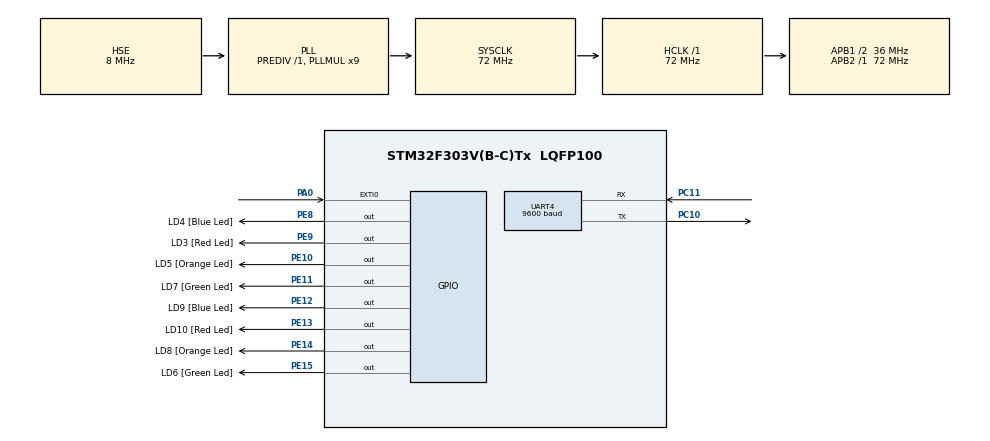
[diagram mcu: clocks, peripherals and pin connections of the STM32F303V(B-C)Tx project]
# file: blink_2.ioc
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Mcu.Family=STM32F3
Mcu.Name=STM32F303V(B-C)Tx
Mcu.Package=LQFP100
NVIC.EXTI0_IRQn=true\:0\:0\:false\:false\:true\:true
NVIC.PriorityGroup=NVIC_PRIORITYGROUP_0
NVIC.UART4_IRQn=true\:0\:0\:false\:false\:true\:true
PA0.Signal=GPXTI0
PA11.GPIO_Label=DM
PA11.Signal=USB_DM
PA12.GPIO_Label=DP
PA12.Signal=USB_DP
PA13.GPIO_Label=SWDIO
PA13.Signal=SYS_JTMS-SWDIO
PA14.GPIO_Label=SWCLK
PA14.Signal=SYS_JTCK-SWCLK
PA5.GPIO_Label=SPI1_SCK [L3GD20_SCL/SPC]
PA5.GPIO_Mode=GPIO_MODE_AF_PP
PA5.GPIO_PuPd=GPIO_NOPULL
PA5.GPIO_Speed=GPIO_SPEED_FREQ_LOW
PA5.Signal=SPI1_SCK
PA6.GPIO_Label=SPI1_MISO [L3GD20_SA0/SDO]
PA6.GPIO_Mode=GPIO_MODE_AF_PP
PA6.GPIO_PuPd=GPIO_NOPULL
PA6.GPIO_Speed=GPIO_SPEED_FREQ_LOW
PA6.Signal=SPI1_MISO
PA7.GPIO_Label=SPI1_MISO [L3GD20_SDA/SDI/SDO]
PA7.GPIO_Mode=GPIO_MODE_AF_PP
PA7.GPIO_PuPd=GPIO_NOPULL
PA7.GPIO_Speed=GPIO_SPEED_FREQ_LOW
PA7.Signal=SPI1_MOSI
PB3.GPIO_Label=SWO
PB3.Signal=SYS_JTDO-TRACESWO
PB6.GPIO_FM6=__NULL
PB6.GPIO_Label=I2C1_SCL [LSM303DLHC_SCL]
PB6.GPIO_Mode=GPIO_MODE_AF_OD
PB6.GPIO_PuPd=GPIO_NOPULL
PB6.GPIO_Speed=GPIO_SPEED_FREQ_LOW
PB6.Signal=I2C1_SCL
PB7.GPIO_FM7=__NULL
PB7.GPIO_Label=I2C1_SDA [LSM303DLHC_SDA]
PB7.GPIO_Mode=GPIO_MODE_AF_OD
PB7.GPIO_PuPd=GPIO_NOPULL
PB7.GPIO_Speed=GPIO_SPEED_FREQ_LOW
PB7.Signal=I2C1_SDA
PC10.Mode=Asynchronous
PC10.Signal=UART4_TX
PC11.Mode=Asynchronous
PC11.Signal=UART4_RX
PC14-OSC32_IN.GPIO_Label=OSC32_IN
PC14-OSC32_IN.Signal=RCC_OSC32_IN
PC15-OSC32_OUT.GPIO_Label=OSC32_OUT
PC15-OSC32_OUT.Signal=RCC_OSC32_OUT
PE10.GPIO_Label=LD5 [Orange Led]
PE10.GPIO_ModeDefaultOutputPP=GPIO_MODE_OUTPUT_PP
PE10.GPIO_PuPd=GPIO_NOPULL
PE10.GPIO_Speed=GPIO_SPEED_FREQ_LOW
PE10.Signal=GPIO_Output
PE11.GPIO_Label=LD7 [Green Led]
PE11.GPIO_ModeDefaultOutputPP=GPIO_MODE_OUTPUT_PP
PE11.GPIO_PuPd=GPIO_NOPULL
PE11.GPIO_Speed=GPIO_SPEED_FREQ_LOW
PE11.Signal=GPIO_Output
PE12.GPIO_Label=LD9 [Blue Led]
PE12.GPIO_ModeDefaultOutputPP=GPIO_MODE_OUTPUT_PP
PE12.GPIO_PuPd=GPIO_NOPULL
PE12.GPIO_Speed=GPIO_SPEED_FREQ_LOW
PE12.Signal=GPIO_Output
PE13.GPIO_Label=LD10 [Red Led]
PE13.GPIO_ModeDefaultOutputPP=GPIO_MODE_OUTPUT_PP
PE13.GPIO_PuPd=GPIO_NOPULL
PE13.GPIO_Speed=GPIO_SPEED_FREQ_LOW
PE13.Signal=GPIO_Output
PE14.GPIO_Label=LD8 [Orange Led]
PE14.GPIO_ModeDefaultOutputPP=GPIO_MODE_OUTPUT_PP
PE14.GPIO_PuPd=GPIO_NOPULL
PE14.GPIO_Speed=GPIO_SPEED_FREQ_LOW
PE14.Signal=GPIO_Output
PE15.GPIO_Label=LD6 [Green Led]
PE15.GPIO_ModeDefaultOutputPP=GPIO_MODE_OUTPUT_PP
PE15.GPIO_PuPd=GPIO_NOPULL
PE15.GPIO_Speed=GPIO_SPEED_FREQ_LOW
PE15.Signal=GPIO_Output
PE8.GPIO_Label=LD4 [Blue Led]
PE8.GPIO_ModeDefaultOutputPP=GPIO_MODE_OUTPUT_PP
PE8.GPIO_PuPd=GPIO_NOPULL
PE8.GPIO_Speed=GPIO_SPEED_FREQ_LOW
PE8.Signal=GPIO_Output
PE9.GPIO_Label=LD3 [Red Led]
PE9.GPIO_ModeDefaultOutputPP=GPIO_MODE_OUTPUT_PP
PE9.GPIO_PuPd=GPIO_NOPULL
PE9.GPIO_Speed=GPIO_SPEED_FREQ_LOW
PE9.Signal=GPIO_Output
PF0-OSC_IN.Mode=HSE-External-Oscillator
PF0-OSC_IN.Signal=RCC_OSC_IN
PF1-OSC_OUT.GPIO_Label=OSC_OUT
PF1-OSC_OUT.Mode=HSE-External-Oscillator
PF1-OSC_OUT.Signal=RCC_OSC_OUT
ProjectManager.HeapSize=0x200
ProjectManager.StackSize=0x400
ProjectManager.TargetToolchain=SW4STM32
RCC.AHBFreq_Value=72000000
RCC.APB1CLKDivider=RCC_HCLK_DIV2
RCC.APB1Freq_Value=36000000
RCC.APB1TimFreq_Value=72000000
RCC.APB2Freq_Value=72000000
RCC.APB2TimFreq_Value=72000000
RCC.CortexFreq_Value=72000000
RCC.HCLKFreq_Value=72000000
RCC.HSE_VALUE=8000000
RCC.HSI_VALUE=8000000
RCC.LSE_VALUE=32768
RCC.PLLMUL=RCC_PLL_MUL9
RCC.PLLSourceVirtual=RCC_PLLSOURCE_HSE
RCC.SYSCLKFreq_VALUE=72000000
RCC.SYSCLKSourceVirtual=RCC_SYSCLKSOURCE_PLLCLK
RCC.USBFreq_Value=72000000
RCC.Uart4ClockSelection=RCC_UART4CLKSOURCE_SYSCLK
UART4.BaudRate=9600
board=STM32F3DISCOVERY

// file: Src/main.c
/**
  ******************************************************************************
  * File Name          : main.c
  * Description        : Main program body
  ******************************************************************************
  ** This notice applies to any and all portions of this file
  * that are not between comment pairs USER CODE BEGIN and
  * USER CODE END. Other portions of this file, whether
  * inserted by the user or by software development tools
  * are owned by their respective copyright owners.
  *
  * COPYRIGHT(c) 2017 STMicroelectronics
  *
  * Redistribution and use in source and binary forms, with or without modification,
  * are permitted provided that the following conditions are met:
  *   1. Redistributions of source code must retain the above copyright notice,
  *      this list of conditions and the following disclaimer.
  *   2. Redistributions in binary form must reproduce the above copyright notice,
  *      this list of conditions and the following disclaimer in the documentation
  *      and/or other materials provided with the distribution.
  *   3. Neither the name of STMicroelectronics nor the names of its contributors
  *      may be used to endorse or promote products derived from this software
  *      without specific prior written permission.
  *
  * THIS SOFTWARE IS PROVIDED BY THE COPYRIGHT HOLDERS AND CONTRIBUTORS "AS IS"
  * AND ANY EXPRESS OR IMPLIED WARRANTIES, INCLUDING, BUT NOT LIMITED TO, THE
  * IMPLIED WARRANTIES OF MERCHANTABILITY AND FITNESS FOR A PARTICULAR PURPOSE ARE
  * DISCLAIMED. IN NO EVENT SHALL THE COPYRIGHT HOLDER OR CONTRIBUTORS BE LIABLE
  * FOR ANY DIRECT, INDIRECT, INCIDENTAL, SPECIAL, EXEMPLARY, OR CONSEQUENTIAL
  * DAMAGES (INCLUDING, BUT NOT LIMITED TO, PROCUREMENT OF SUBSTITUTE GOODS OR
  * SERVICES; LOSS OF USE, DATA, OR PROFITS; OR BUSINESS INTERRUPTION) HOWEVER
  * CAUSED AND ON ANY THEORY OF LIABILITY, WHETHER IN CONTRACT, STRICT LIABILITY,
  * OR TORT (INCLUDING NEGLIGENCE OR OTHERWISE) ARISING IN ANY WAY OUT OF THE USE
  * OF THIS SOFTWARE, EVEN IF ADVISED OF THE POSSIBILITY OF SUCH DAMAGE.
  *
  ******************************************************************************
  */

#include "main.h"
#include "stm32f3xx_hal.h"
#include "usart.h"
#include "gpio.h"
#include <string.h>
#include <stdlib.h>

/* USER CODE BEGIN Includes */

#define MINIMAL_COMMAND "set interval=0"
#define MINIMAL_DELAY 10
#define NUM_LEDS 8

/* USER CODE END Includes */

/* USER CODE BEGIN PV */
/* Private variables ---------------------------------------------------------*/
uint16_t LEDS_1[8] = {GPIO_PIN_9, GPIO_PIN_10, GPIO_PIN_11, GPIO_PIN_12,
					GPIO_PIN_13, GPIO_PIN_14, GPIO_PIN_15, GPIO_PIN_8};

static int clockwise = 1;	//	1 - clockwise, 0 - counterclockwise
static int i = 0;
static int command_object = 0;
static int delay = 500;
volatile int pressed = 0;
volatile int command = 0;
volatile int pre_delay = 500;
volatile int pre_dir = 1;

volatile int Rx_indx = 0;
volatile char Rx_data[2] = {0};
volatile char Rx_buffer[256] = {0};
/* USER CODE END PV */

void SystemClock_Config(void);

/* USER CODE BEGIN PFP */
/* Private function prototypes -----------------------------------------------*/

void null_all_leds()
{
	int i = 0;

	while (i < NUM_LEDS)
	{
		HAL_GPIO_WritePin(GPIOE, LEDS_1[i], GPIO_PIN_RESET);
		++i;
	}
}

int check_set(char Rx_buffer[])
{
	char set[4] = {0};
	int i;

	/*
	 *	Read first four bytes and check if
	 *	they are equal to 'set '. Return 1 if not.
	 */
	i = 0;
	while (i < sizeof(set))
	{
		set[i] = Rx_buffer[i];
		++i;
	}
	if (strncmp(set, "set ", sizeof(set)))
		return (1);
	else
		return (0);
}

int check_object(char Rx_buffer[])
{
	char object[10] = {0};
	int	obj_len;
	int i;
	int set_len;

	/*
	 *	Read first ten bytes, starting after 'set '
	 *	and check if they are equal 'interval=' or
	 *	'direction='. Return 1 if not.
	 */
	i = 0;
	set_len = strlen("set ");
	obj_len = sizeof(object);
	while (i < obj_len)
	{
		object[i] = Rx_buffer[i + set_len];

			//	'interval=' has length equal nine, so we should check it here.
		if (i == 8)
		{
			if (strncmp(object, "interval=", obj_len - 1) == 0)
			{
				command_object = 2;
				return (0);
			}
		}
		++i;
	}
	if (strncmp(object, "direction=", obj_len))
		return (1);
	else
	{
		command_object = 1;
		return (0);
	}
}

int check_value(char Rx_buffer[], int len)
{
	char value_str[6] = {0};
	int	value;
	int i;
	int j;

	/*
	 * Iterate through buffer until '=' is found
	 */
	i = 0;
	j = 0;
	while (i < len && Rx_buffer[i] != '=')		//	Stops on '='
		++i;
	++i;

	/*
	 *	Read first six bytes, starting after the '=' sign
	 *	and check if they are equal 'left'/'right' or a
	 *	valid number, depending on what parameter we are
	 *	changing.
	 */
	while (i + j < len)
	{
		if (j > sizeof(value))			//	If value is longer, than allowed
			return (1);
		value_str[j] = Rx_buffer[i + j];
		++j;
	}
	if (command_object == 1)
	{
		if (strcmp(value_str, "left") == 0)
			pre_dir = 0;
		else if (strcmp(value_str, "right") == 0)
			pre_dir = 1;
		else
			return (1);
	}
	else if (command_object == 2)
	{
		value = atoi(value_str);

		if (value < MINIMAL_DELAY)
			return (1);
		pre_delay = value;
	}
	return (0);

}

int check_command(char Rx_buffer[])
{
	int len = strlen(Rx_buffer);

	/*
	 *	Check different parts of command for validity.
	 *	If all parts are valid, set 'command' to 1 and
	 *	return 0.
	 */
	if (len < strlen(MINIMAL_COMMAND))
		return (1);
	if (check_set(Rx_buffer))
		return (1);
	if (check_object(Rx_buffer))
		return (1);
	if (check_value(Rx_buffer, len))
		return (1);

	command = 1;
	return (0);
}

void HAL_UART_RxCpltCallback(UART_HandleTypeDef *huart)
{
	int i;
	volatile HAL_StatusTypeDef Tx_status = HAL_OK;

	if (huart->Instance == UART4)
	{
			//	Clear buffer before each command
		if (Rx_indx == 0)
		{
			for (i = 0; i < sizeof(Rx_buffer); ++i)
				Rx_buffer[i] = 0;
		}

		/*
		 *	Read bytes until '\r' is read, write them into
		 *	buffer and send back. When '\r' is read check
		 *	whole command for validity and send appropriate
		 *	message.
		 */
		if (Rx_indx == 0 && Rx_data[0] == '\r')
		{
			HAL_UART_Transmit_IT(huart, "\r\n> ", 4);
		}
		else if (Rx_data[0] != '\r' && Rx_indx >= 0)
		{
			if (Rx_indx > 0 && Rx_data[0] == '\b' && Rx_indx < sizeof(Rx_buffer))
			{
				--Rx_indx;

				Rx_buffer[Rx_indx] = 0;
				do
				{
					HAL_UART_AbortTransmit_IT(huart);
					Tx_status = HAL_UART_Transmit_IT(huart, "\b \b", 3);
				}while (Tx_status != HAL_OK);

			}
			else if (Rx_indx < sizeof(Rx_buffer) - 1 && Rx_data[0] != '\b')
			{
				Rx_buffer[Rx_indx] = Rx_data[0];
				++Rx_indx;

				do
				{
					HAL_UART_AbortTransmit_IT(huart);
					Tx_status = HAL_UART_Transmit_IT(huart, Rx_data, 1);
				}while (Tx_status != HAL_OK);
			}
		}
		else
		{
			Rx_indx = 0;
			if (check_command(Rx_buffer))
			{
				HAL_UART_Transmit_IT(huart, "\r\nError\r\n> ", 11);
			}
			else
			{
				HAL_UART_Transmit_IT(huart, "\r\nOK\r\n> ", 8);
			}
		}
		HAL_UART_Receive_IT(huart, Rx_data, 1);
	}
}

void HAL_GPIO_EXTI_Callback(uint16_t GPIO_Pin)
{
	if (GPIO_Pin == GPIO_PIN_0)
	{
		pressed = !pressed;
	}
}

/* USER CODE END PFP */

int main(void)
{

  /* MCU Configuration----------------------------------------------------------*/

  /* Reset of all peripherals, Initializes the Flash interface and the Systick. */
  HAL_Init();

  /* Configure the system clock */
  SystemClock_Config();

  /* Initialize all configured peripherals */
  MX_GPIO_Init();
  MX_UART4_Init();

  /* USER CODE BEGIN 2 */

  HAL_UART_Transmit_IT(&huart4, "\r\n> ", 4);
  HAL_UART_Receive_IT(&huart4, Rx_data, 1);

  /* USER CODE END 2 */

  /* Infinite loop */
  while (1)
  {

  /* USER CODE BEGIN 3 */

	  if (pressed == 1 || command == 1)
	  {
		  null_all_leds();			//	Set all LED's to 'RESET' state
		  i = 0;				//	Start from the first LED

		  if (pressed == 1)			//	Change direction on button press
			  clockwise = !clockwise;
		  else if (command == 1)		//	Command received (not button)
		  {
			  if (command_object == 1)	//	direction command
				  clockwise = pre_dir;
			  else				//	interval command
				  delay = pre_delay;
		  }
		  pressed = 0;
		  command = 0;
	  }

	  HAL_GPIO_TogglePin(GPIOE, LEDS_1[i]);
	  HAL_Delay(delay);

	  /*	If LEDS are moving clockwise = 1 - set i to 0 if
	   * 	i points on the last LED in array, otherwise - add 1.
	   * 	If LEDS are moving counterclockwise (clockwise = 0) -
	   * 	set i to last LED in array if i equals 0, else - subtract 1.
	   */
	  if (i == (NUM_LEDS - 1) * clockwise)
		  i = (NUM_LEDS - 1) * (1 - clockwise);
	  else
		  i = (i + 1) * clockwise + (i - 1) * (1 - clockwise);
  }
  /* USER CODE END 3 */
}

/** System Clock Configuration
*/
void SystemClock_Config(void)
{

  RCC_OscInitTypeDef RCC_OscInitStruct;
  RCC_ClkInitTypeDef RCC_ClkInitStruct;
  RCC_PeriphCLKInitTypeDef PeriphClkInit;

    /**Initializes the CPU, AHB and APB busses clocks
    */
  RCC_OscInitStruct.OscillatorType = RCC_OSCILLATORTYPE_HSE;
  RCC_OscInitStruct.HSEState = RCC_HSE_ON;
  RCC_OscInitStruct.HSEPredivValue = RCC_HSE_PREDIV_DIV1;
  RCC_OscInitStruct.HSIState = RCC_HSI_ON;
  RCC_OscInitStruct.PLL.PLLState = RCC_PLL_ON;
  RCC_OscInitStruct.PLL.PLLSource = RCC_PLLSOURCE_HSE;
  RCC_OscInitStruct.PLL.PLLMUL = RCC_PLL_MUL9;
  if (HAL_RCC_OscConfig(&RCC_OscInitStruct) != HAL_OK)
  {
    _Error_Handler(__FILE__, __LINE__);
  }

    /**Initializes the CPU, AHB and APB busses clocks
    */
  RCC_ClkInitStruct.ClockType = RCC_CLOCKTYPE_HCLK|RCC_CLOCKTYPE_SYSCLK
                              |RCC_CLOCKTYPE_PCLK1|RCC_CLOCKTYPE_PCLK2;
  RCC_ClkInitStruct.SYSCLKSource = RCC_SYSCLKSOURCE_PLLCLK;
  RCC_ClkInitStruct.AHBCLKDivider = RCC_SYSCLK_DIV1;
  RCC_ClkInitStruct.APB1CLKDivider = RCC_HCLK_DIV2;
  RCC_ClkInitStruct.APB2CLKDivider = RCC_HCLK_DIV1;

  if (HAL_RCC_ClockConfig(&RCC_ClkInitStruct, FLASH_LATENCY_2) != HAL_OK)
  {
    _Error_Handler(__FILE__, __LINE__);
  }

  PeriphClkInit.PeriphClockSelection = RCC_PERIPHCLK_UART4;
  PeriphClkInit.Uart4ClockSelection = RCC_UART4CLKSOURCE_SYSCLK;
  if (HAL_RCCEx_PeriphCLKConfig(&PeriphClkInit) != HAL_OK)
  {
    _Error_Handler(__FILE__, __LINE__);
  }

    /**Configure the Systick interrupt time
    */
  HAL_SYSTICK_Config(HAL_RCC_GetHCLKFreq()/1000);

    /**Configure the Systick
    */
  HAL_SYSTICK_CLKSourceConfig(SYSTICK_CLKSOURCE_HCLK);

  /* SysTick_IRQn interrupt configuration */
  HAL_NVIC_SetPriority(SysTick_IRQn, 0, 0);
}

void _Error_Handler(char * file, int line)
{
  while(1)
  {
  }
}

/************************ (C) COPYRIGHT STMicroelectronics *****END OF FILE****/
